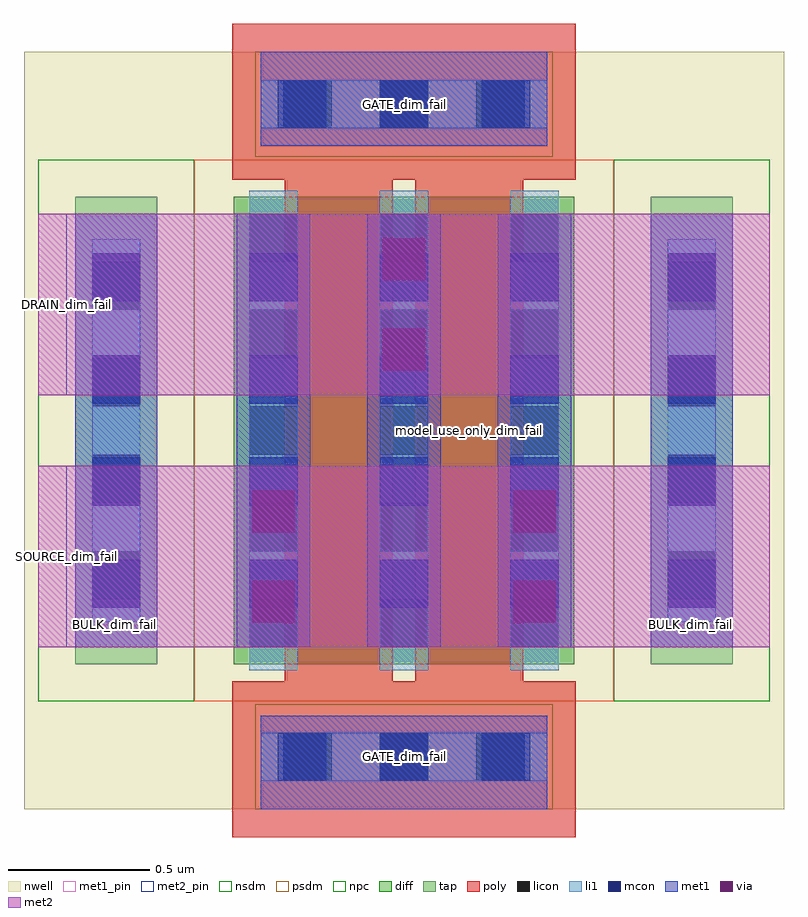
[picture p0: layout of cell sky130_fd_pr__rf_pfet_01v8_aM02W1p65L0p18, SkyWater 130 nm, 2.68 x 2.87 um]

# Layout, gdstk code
import gdstk
lib = gdstk.Library(unit=1e-6, precision=1e-09)
def R(c, l, rs):  # rectangles x0, y0, x1, y1
    for r in rs: c.add(gdstk.rectangle(r[:2], r[2:], *l))
def A(c, l, x, y, w, h, nx, ny, dx, dy):  # array of equal rectangles
    R(c, l, [(x+i*dx, y+j*dy, x+i*dx+w, y+j*dy+h) for i in range(nx) for j in range(ny)])
def P(c, l, *ps):  # polygons
    for p in ps: c.add(gdstk.Polygon(p, *l))
nwell = (64, 20)
diff = (65, 20)
tap = (65, 44)
poly = (66, 20)
licon = (66, 44)
li1 = (67, 20)
mcon = (67, 44)
met1_pin = (68, 16)
met1 = (68, 20)
via = (68, 44)
met2_pin = (69, 16)
met2 = (69, 20)
nsdm = (93, 44)
psdm = (94, 20)
npc = (95, 20)

sky130_fd_pr__rf_pfet_01 = lib.new_cell('sky130_fd_pr__rf_pfet_01v8_aM02W1p65L0p18')
R(sky130_fd_pr__rf_pfet_01, nwell, [(0,0,2.68,2.67)])
R(sky130_fd_pr__rf_pfet_01, diff, [(0.74,0.51,1.94,2.16)])
R(sky130_fd_pr__rf_pfet_01, tap, [(0.18,0.51,0.47,2.16), (2.21,0.51,2.5,2.16)])
P(sky130_fd_pr__rf_pfet_01, poly, [(0.735,-0.1),(0.735,0.45),(0.92,0.45),(0.92,2.22),(1.3,2.22),(1.3,0.45),(1.38,0.45),(1.38,2.22),(0.735,2.22),(0.735,2.77),(1.945,2.77),(1.945,2.22),(1.76,2.22),(1.76,0.45),(1.945,0.45),(1.945,-0.1)])
A(sky130_fd_pr__rf_pfet_01, licon, 0.915, 0.1, 0.17, 0.17, 3, 2, 0.34, 2.3)
A(sky130_fd_pr__rf_pfet_01, licon, 0.795, 0.57, 0.17, 0.17, 3, 5, 0.46, 0.34)
A(sky130_fd_pr__rf_pfet_01, licon, 0.24, 0.74, 0.17, 0.17, 1, 4, 0, 0.34)
A(sky130_fd_pr__rf_pfet_01, licon, 2.27, 0.74, 0.17, 0.17, 1, 4, 0, 0.34)
A(sky130_fd_pr__rf_pfet_01, li1, 0.795, 0.49, 0.17, 1.69, 3, 1, 0.46, 0)
R(sky130_fd_pr__rf_pfet_01, li1, [(0.835,0.1,1.845,0.27), (0.895,0.1,1.785,0.27), (0.24,0.66,0.41,2.01), (2.27,0.66,2.44,2.01), (0.835,2.4,1.845,2.57), (0.895,2.4,1.785,2.57)])
A(sky130_fd_pr__rf_pfet_01, mcon, 0.895, 0.1, 0.17, 0.17, 3, 2, 0.36, 2.3)
A(sky130_fd_pr__rf_pfet_01, mcon, 0.24, 0.71, 0.17, 0.17, 1, 4, 0, 0.36)
A(sky130_fd_pr__rf_pfet_01, mcon, 0.795, 0.71, 0.17, 0.17, 3, 4, 0.46, 0.36)
A(sky130_fd_pr__rf_pfet_01, mcon, 2.27, 0.71, 0.17, 0.17, 1, 4, 0, 0.36)
R(sky130_fd_pr__rf_pfet_01, met1_pin, [(0.835,0,1.845,0.33), (0.18,0.57,0.47,0.65), (2.21,0.57,2.5,0.65), (0.835,2.34,1.845,2.67)])
A(sky130_fd_pr__rf_pfet_01, met1, 0.75, 0.57, 0.26, 1.53, 3, 1, 0.46, 0)
R(sky130_fd_pr__rf_pfet_01, met1, [(0.835,0,1.845,0.33), (0.18,0.57,0.47,2.1), (2.21,0.57,2.5,2.1), (0.835,2.34,1.845,2.67)])
R(sky130_fd_pr__rf_pfet_01, via, [(0.805,0.655,0.955,0.805), (1.725,0.655,1.875,0.805), (0.805,0.975,0.955,1.125), (1.725,0.975,1.875,1.125), (1.265,1.545,1.415,1.695), (1.265,1.865,1.415,2.015)])
R(sky130_fd_pr__rf_pfet_01, met2_pin, [(0.05,0.57,0.15,1.21), (0.05,1.46,0.15,2.1)])
R(sky130_fd_pr__rf_pfet_01, met2, [(0.05,0.57,2.63,1.21), (0.05,1.46,2.63,2.1)])
R(sky130_fd_pr__rf_pfet_01, nsdm, [(0.05,0.38,0.6,2.29), (2.08,0.38,2.63,2.29)])
R(sky130_fd_pr__rf_pfet_01, psdm, [(0.6,0.38,2.08,2.29)])
R(sky130_fd_pr__rf_pfet_01, npc, [(0.815,0,1.865,0.37), (0.815,2.3,1.865,2.67)])
sky130_fd_pr__rf_pfet_01.add(gdstk.Label('model_use_only_dim_fail', (1.57,1.335), layer=66, texttype=83))
sky130_fd_pr__rf_pfet_01.add(gdstk.Label('model_use_only_dim_fail', (1.11,1.335), layer=66, texttype=83))
sky130_fd_pr__rf_pfet_01.add(gdstk.Label('DRAIN_dim_fail', (0.15,1.78), layer=69, texttype=5))
sky130_fd_pr__rf_pfet_01.add(gdstk.Label('SOURCE_dim_fail', (0.15,0.89), layer=69, texttype=5))
sky130_fd_pr__rf_pfet_01.add(gdstk.Label('BULK_dim_fail', (2.35,0.65), layer=68, texttype=5))
sky130_fd_pr__rf_pfet_01.add(gdstk.Label('GATE_dim_fail', (1.34,0.185), layer=68, texttype=5))
sky130_fd_pr__rf_pfet_01.add(gdstk.Label('GATE_dim_fail', (1.34,2.485), layer=68, texttype=5))
sky130_fd_pr__rf_pfet_01.add(gdstk.Label('BULK_dim_fail', (0.32,0.65), layer=68, texttype=5))

lib.write_gds('sky130_fd_pr__rf_pfet_01v8_aM02W1p65L0p18.gds')
